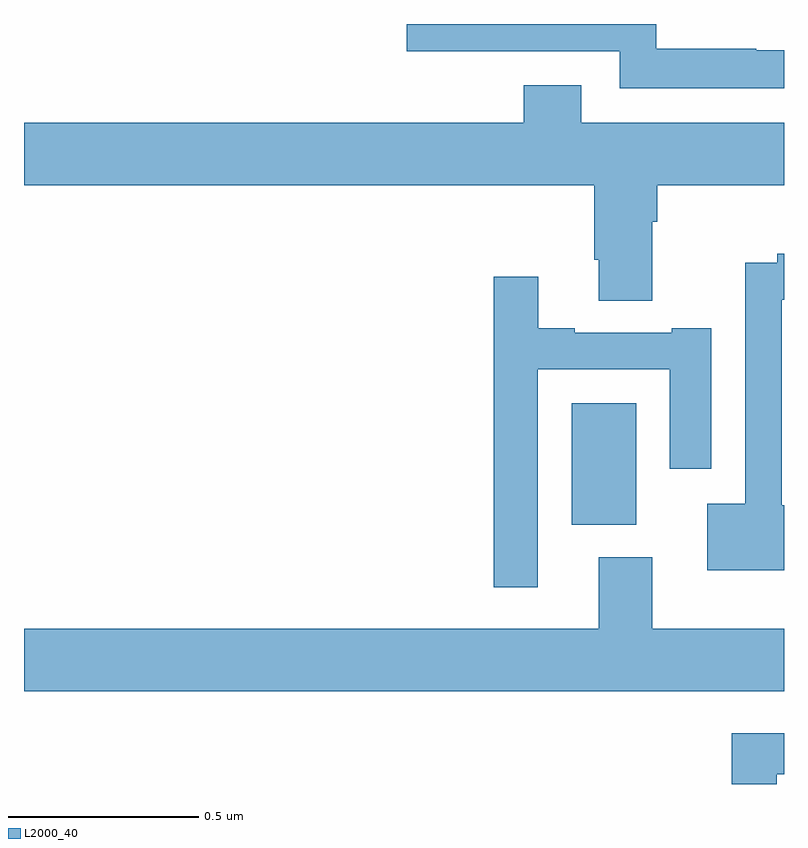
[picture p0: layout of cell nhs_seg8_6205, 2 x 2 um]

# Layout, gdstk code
import gdstk
lib = gdstk.Library(unit=1e-6, precision=1e-09)
def R(c, l, rs):  # rectangles x0, y0, x1, y1
    for r in rs: c.add(gdstk.rectangle(r[:2], r[2:], *l))
def P(c, l, *ps):  # polygons
    for p in ps: c.add(gdstk.Polygon(p, *l))
L2000_40 = (2000, 40)

nhs_seg8_6205 = lib.new_cell('nhs_seg8_6205')
R(nhs_seg8_6205, L2000_40, [(194.441,1139.582,194.611,1139.902)])
P(nhs_seg8_6205, L2000_40, [(195,1140.831),(194.927,1140.831),(194.927,1140.835),(194.664,1140.835),(194.664,1140.9),(194.007,1140.9),(194.007,1140.828),(194.568,1140.828),(194.568,1140.731),(195,1140.731)],
  [(194.653,1140.38),(194.666,1140.38),(194.666,1140.476),(195,1140.476),(195,1140.64),(194.467,1140.64),(194.467,1140.739),(194.315,1140.739),(194.315,1140.64),(193,1140.64),(193,1140.476),(194.501,1140.476),(194.501,1140.28),(194.513,1140.28),(194.513,1140.172),(194.653,1140.172)],
  [(195,1139.634),(194.994,1139.634),(194.994,1140.174),(195,1140.174),(195,1140.295),(194.982,1140.295),(194.982,1140.272),(194.898,1140.272),(194.898,1139.638),(194.798,1139.638),(194.798,1139.462),(195,1139.462)],
  [(194.352,1139.991),(194.699,1139.991),(194.699,1139.73),(194.809,1139.73),(194.809,1140.1),(194.705,1140.1),(194.705,1140.087),(194.449,1140.087),(194.449,1140.1),(194.353,1140.1),(194.353,1140.235),(194.236,1140.235),(194.236,1139.418),(194.352,1139.418)],
  [(195,1139.308),(194.653,1139.308),(194.653,1139.497),(194.513,1139.497),(194.513,1139.308),(193,1139.308),(193,1139.144),(195,1139.144)],
  [(194.981,1138.926),(195,1138.926),(195,1139.034),(194.863,1139.034),(194.863,1138.9),(194.981,1138.9)])

lib.write_gds('nhs_seg8_6205.gds')
